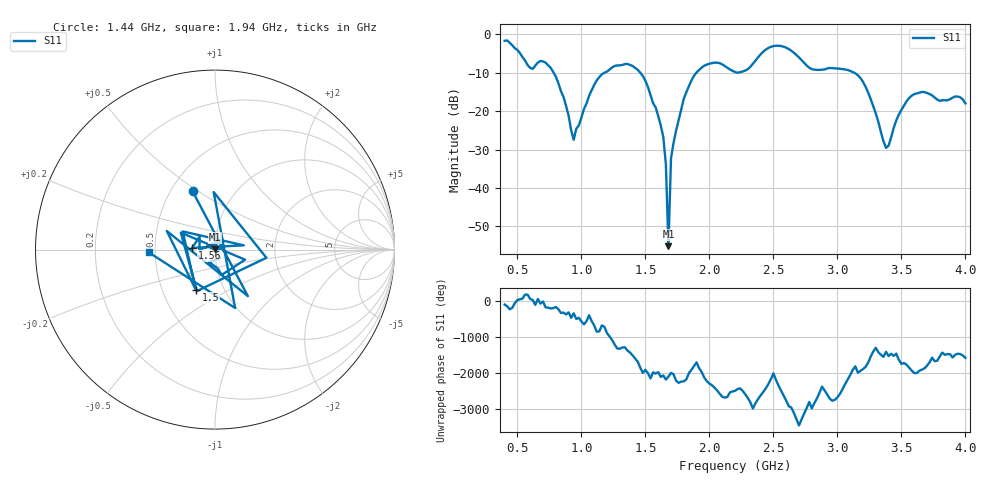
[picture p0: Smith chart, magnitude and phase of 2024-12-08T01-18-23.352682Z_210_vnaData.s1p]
!Created with skrf (http://scikit-rf.org).
# Hz S RI R 50.0
!freq ReS11 ImS11
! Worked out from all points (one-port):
!   181 points, 400 MHz to 4 GHz, reference 50 ohm
!   lowest |S11| = -55.1 dB at 1.68 GHz (marker M1), VSWR 1.00, Z = 50.1 + j0.146 ohm
!   |S11| at or under -10 dB: 783.6 MHz to 1.179 GHz (395.5 MHz wide, 40.3 % of centre); 1.461 GHz to 1.897 GHz (436.5 MHz wide, 26 % of centre); 3.132 GHz to end of sweep
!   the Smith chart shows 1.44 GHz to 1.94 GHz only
!   S11 on the Smith chart (normalised r, x): 1.44 GHz: 0.64, +0.47; 1.5 GHz: 0.74, -0.35; 1.56 GHz: 0.77, +0.01; 1.94 GHz: 0.46, -0.02
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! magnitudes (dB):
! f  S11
! 400 MHz  -1.7
! 600 MHz  -8.7
! 720 MHz  -7.3
! 860 MHz  -16.3
! 940 MHz  -27.4
! 1.12 GHz  -12.0
! 1.3 GHz  -8.1
! 1.44 GHz  -9.2
! 1.5 GHz  -12.1
! 1.56 GHz  -17.9
! 1.64 GHz  -26.7
! 1.66 GHz  -33.9
! 1.68 GHz  -55.1
! 1.7 GHz  -32.3
! 1.76 GHz  -22.3
! 1.84 GHz  -13.5
! 1.94 GHz  -8.6
! 2.06 GHz  -7.4
! 2.2 GHz  -9.8
! 2.48 GHz  -3.2
! 2.66 GHz  -4.8
! 2.8 GHz  -9.0
! 3.1 GHz  -9.5
! 3.22 GHz  -13.6
! 3.38 GHz  -29.5
! 3.56 GHz  -16.6
! 3.68 GHz  -15.0
! 4 GHz  -18.0
